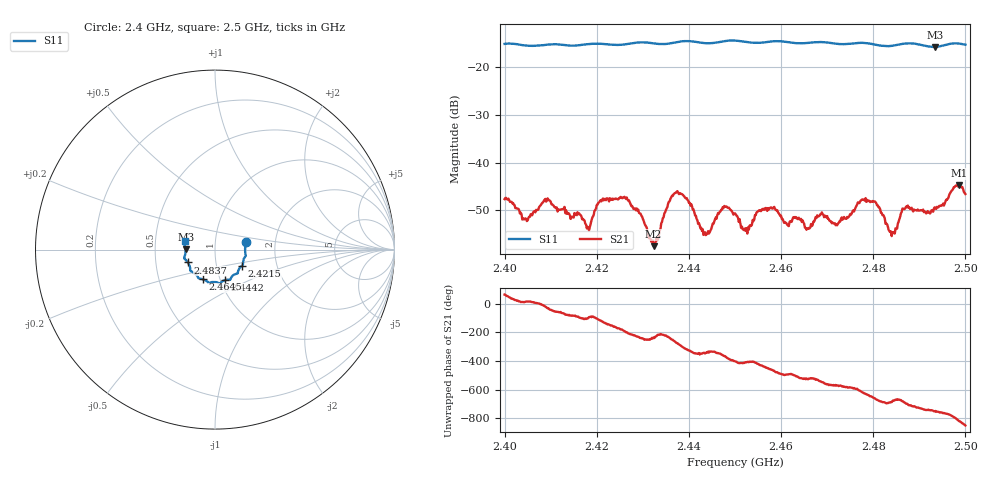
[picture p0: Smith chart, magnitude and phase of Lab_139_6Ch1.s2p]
# Hz S RI R 50
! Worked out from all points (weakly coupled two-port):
!   601 points, 2.4 GHz to 2.5 GHz, reference 50 ohm
!   highest |S21| = -44.71 dB at 2.4987 GHz (marker M1); lowest = -57.5 dB at 2.4323 GHz (marker M2)
!   lowest |S11| = -15.7 dB at 2.4935 GHz (marker M3), VSWR 1.39, Z = 35.9 + j0.288 ohm
!   |S11| at or under -10 dB: start of sweep to end of sweep
!   S12 and S22 are empty: the file has one direction only
!   S11 on the Smith chart (normalised r, x): 2.4 GHz: 1.41, +0.12; 2.4215 GHz: 1.33, -0.25; 2.4442 GHz: 1.05, -0.37; 2.4645 GHz: 0.83, -0.29; 2.4837 GHz: 0.73, -0.11; 2.5 GHz: 0.71, +0.07
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2.4e9  0.1713 0.0402  0.00189 0.00371  0 0  0 0
2.404333e9  0.1685 0.0164  0.00251 0.000478  0 0  0 0
2.409167e9  0.1704 -0.0262  0.00352 -0.00192  0 0  0 0
2.416667e9  0.1568 -0.0698  -0.00055 -0.0027  0 0  0 0
2.418333e9  0.1558 -0.0808  -0.000142 -0.00195  0 0  0 0
2.4215e9  0.151 -0.0897  -0.00267 -0.00302  0 0  0 0
2.4265e9  0.1294 -0.118  -0.00408 0.00146  0 0  0 0
2.432333e9  0.1154 -0.1358  -0.000743 0.00111  0 0  0 0
2.433333e9  0.1083 -0.1384  -0.00129 0.000948  0 0  0 0
2.4375e9  0.0873 -0.1623  0.000496 0.00502  0 0  0 0
2.444167e9  0.0565 -0.1693  0.00173 0.000829  0 0  0 0
2.4475e9  0.0325 -0.1844  0.00334 -0.000153  0 0  0 0
2.45e9  0.0251 -0.1891  0.00218 -0.00199  0 0  0 0
2.4645e9  -0.0658 -0.1659  -0.00226 -0.000785  0 0  0 0
2.466667e9  -0.0828 -0.162  -0.00207 -0.000659  0 0  0 0
2.477833e9  -0.1376 -0.1166  -0.00068 0.00404  0 0  0 0
2.483333e9  -0.1489 -0.0749  0.00174 0.000941  0 0  0 0
2.483667e9  -0.1509 -0.0716  0.00161 0.000964  0 0  0 0
2.487e9  -0.1704 -0.0509  0.00301 0.00153  0 0  0 0
2.4935e9  -0.1635 0.0039  0.00291 -0.00157  0 0  0 0
2.498667e9  -0.1716 0.0434  -0.000964 -0.00573  0 0  0 0
2.5e9  -0.1652 0.0505  -0.00297 -0.00364  0 0  0 0
